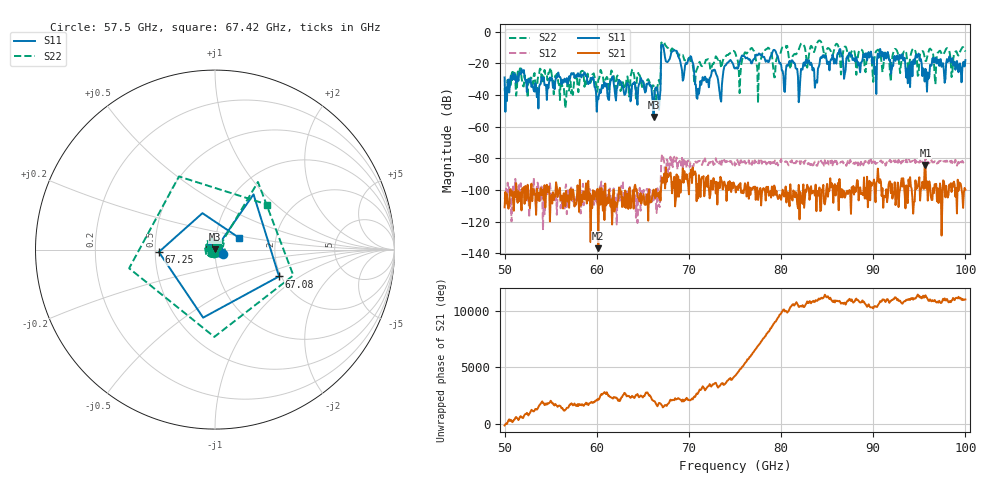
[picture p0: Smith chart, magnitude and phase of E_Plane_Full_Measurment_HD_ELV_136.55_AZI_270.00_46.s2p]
! 11/26/2026 3:39:39 PM
! C:\ANRITSUVNA\TEMP\TEMP.S2P
! CHANNEL.1
! TR.MEASUREMENT
! RAW.DATA
# HZ S RI R 50.0
! FREQ.HZ  S11RE  S11IM  S21RE  S21IM  S12RE  S12IM  S22RE  S22IM
!; PortSelection: Port_12
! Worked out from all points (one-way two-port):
!   601 points, 50 GHz to 100 GHz, reference 50 ohm
!   highest |S21| = -84.26 dB at 95.67 GHz (marker M1); lowest = -137.0 dB at 60.17 GHz (marker M2)
!   lowest |S11| = -54.0 dB at 66.17 GHz (marker M3), VSWR 1.00, Z = 50.1 + j0.146 ohm
!   |S11| at or under -10 dB: start of sweep to 67 GHz; 67.25 GHz to end of sweep
!   |S22| runs from -48.4 to -5.6 dB; largest |S21 - S12| = 0.00015
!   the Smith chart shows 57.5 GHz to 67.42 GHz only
!   S11 on the Smith chart (normalised r, x): 57.5 GHz: 1.09, -0.05; 67.08 GHz: 1.95, -0.69; 67.25 GHz: 0.52, -0.02; 67.42 GHz: 1.29, +0.18
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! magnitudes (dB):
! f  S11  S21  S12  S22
! 50 GHz  -28.9  -111.0  -104.8  -35.7
! 51.67 GHz  -26.3  -107.2  -100.1  -23.2
! 53.42 GHz  -34.7  -115.8  -113.5  -34.9
! 57.5 GHz  -26.1  -102.7  -108.2  -34.6
! 58.42 GHz  -27.1  -107.7  -102.6  -24.8
! 60.17 GHz  -42.7  -137.0  -101.3  -30.4
! 66.17 GHz  -54.0  -99.8  -106.6  -34.0
! 66.67 GHz  -41.5  -101.9  -110.3  -31.6
! 67.08 GHz  -8.3  -92.0  -77.4  -6.8
! 67.25 GHz  -10.1  -95.2  -80.3  -6.2
! 67.42 GHz  -16.6  -99.0  -90.7  -8.3
! 70.25 GHz  -15.9  -87.1  -83.0  -18.8
! 70.92 GHz  -42.4  -96.2  -82.6  -23.1
! 75 GHz  -23.3  -97.8  -84.6  -12.9
! 79.25 GHz  -11.5  -97.2  -83.1  -28.9
! 80.25 GHz  -27.8  -102.3  -83.1  -9.3
! 83.42 GHz  -24.5  -101.9  -84.5  -10.8
! 91.67 GHz  -16.7  -96.6  -82.8  -15.2
! 93.75 GHz  -32.6  -108.3  -83.0  -21.3
! 94.83 GHz  -15.0  -97.6  -82.2  -27.9
! 95.67 GHz  -23.5  -84.3  -80.1  -18.6
! 100 GHz  -18.0  -99.8  -84.2  -12.6
